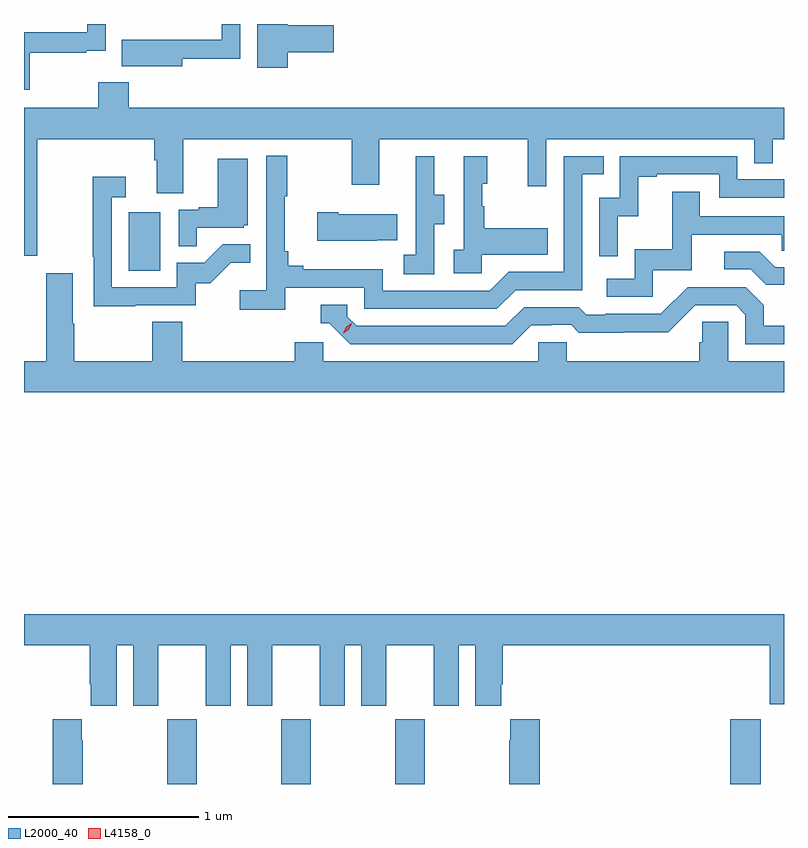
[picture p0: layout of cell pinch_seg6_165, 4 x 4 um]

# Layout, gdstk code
import gdstk
lib = gdstk.Library(unit=1e-6, precision=1e-09)
def R(c, l, rs):  # rectangles x0, y0, x1, y1
    for r in rs: c.add(gdstk.rectangle(r[:2], r[2:], *l))
def A(c, l, x, y, w, h, nx, ny, dx, dy):  # array of equal rectangles
    R(c, l, [(x+i*dx, y+j*dy, x+i*dx+w, y+j*dy+h) for i in range(nx) for j in range(ny)])
def P(c, l, *ps):  # polygons
    for p in ps: c.add(gdstk.Polygon(p, *l))
L2000_40 = (2000, 40)
L4158_0 = (4158, 0)

pinch_seg6_165 = lib.new_cell('pinch_seg6_165')
A(pinch_seg6_165, L2000_40, 1029.547, 935.95, 0.155, 0.342, 3, 1, 0.6, 0)
R(pinch_seg6_165, L2000_40, [(1032.509,935.95,1032.669,936.292), (1029.344,938.652,1029.508,938.959)])
P(pinch_seg6_165, L2000_40, [(1030.18,939.802),(1030.423,939.802),(1030.423,939.944),(1030.18,939.944),(1030.18,939.95),(1030.019,939.95),(1030.019,939.72),(1030.18,939.72)],
  [(1029.625,939.766),(1029.93,939.766),(1029.93,939.95),(1029.834,939.95),(1029.834,939.867),(1029.521,939.867),(1029.521,939.868),(1029.307,939.868),(1029.307,939.728),(1029.625,939.728)],
  [(1028.821,939.798),(1029.119,939.798),(1029.119,939.809),(1029.222,939.809),(1029.222,939.95),(1029.126,939.95),(1029.126,939.906),(1028.792,939.906),(1028.792,939.603),(1028.821,939.603)],
  [(1029.344,939.643),(1029.184,939.643),(1029.184,939.508),(1028.792,939.508),(1028.792,938.73),(1028.863,938.73),(1028.863,939.344),(1029.478,939.344),(1029.478,939.232),(1029.491,939.232),(1029.491,939.058),(1029.631,939.058),(1029.631,939.344),(1030.516,939.344),(1030.516,939.105),(1030.663,939.105),(1030.663,939.344),(1031.444,939.344),(1031.444,939.096),(1031.541,939.096),(1031.541,939.344),(1032.636,939.344),(1032.636,939.217),(1032.732,939.217),(1032.732,939.344),(1032.792,939.344),(1032.792,939.508),(1029.344,939.508)],
  [(1030.166,938.562),(1030.584,938.562),(1030.584,938.451),(1031.281,938.451),(1031.38,938.55),(1031.73,938.55),(1031.73,939.159),(1031.843,939.159),(1031.843,939.255),(1031.634,939.255),(1031.634,938.646),(1031.343,938.646),(1031.244,938.547),(1030.68,938.547),(1030.68,938.659),(1030.261,938.659),(1030.261,938.678),(1030.184,938.678),(1030.184,938.755),(1030.165,938.755),(1030.165,939.043),(1030.177,939.043),(1030.177,939.256),(1030.068,939.256),(1030.068,938.548),(1029.927,938.548),(1029.927,938.446),(1030.166,938.446)],
  [(1031.916,938.939),(1032.026,938.939),(1032.026,939.147),(1032.121,939.147),(1032.121,939.159),(1032.45,939.159),(1032.45,939.036),(1032.792,939.036),(1032.792,939.132),(1032.546,939.132),(1032.546,939.255),(1031.928,939.255),(1031.928,939.036),(1031.82,939.036),(1031.82,938.727),(1031.916,938.727)],
  [(1031.202,938.735),(1031.549,938.735),(1031.549,938.875),(1031.215,938.875),(1031.215,938.99),(1031.205,938.99),(1031.205,939.108),(1031.23,939.108),(1031.23,939.253),(1031.106,939.253),(1031.106,938.762),(1031.055,938.762),(1031.055,938.637),(1031.202,938.637)],
  [(1030.95,938.896),(1031.005,938.896),(1031.005,939.051),(1030.951,939.051),(1030.951,939.253),(1030.853,939.253),(1030.853,939.039),(1030.854,939.039),(1030.854,938.735),(1030.791,938.735),(1030.791,938.632),(1030.95,938.632)],
  [(1029.701,938.877),(1029.948,938.877),(1029.948,938.892),(1029.97,938.892),(1029.97,939.241),(1029.812,939.241),(1029.812,938.986),(1029.713,938.986),(1029.713,938.973),(1029.606,938.973),(1029.606,938.779),(1029.701,938.779)],
  [(1029.377,938.469),(1029.696,938.469),(1029.696,938.586),(1029.772,938.586),(1029.879,938.693),(1029.983,938.693),(1029.983,938.792),(1029.839,938.792),(1029.741,938.694),(1029.597,938.694),(1029.597,938.565),(1029.255,938.565),(1029.255,939.039),(1029.328,939.039),(1029.328,939.145),(1029.154,939.145),(1029.154,938.725),(1029.159,938.725),(1029.159,938.464),(1029.377,938.464)],
  [(1032.102,938.655),(1032.307,938.655),(1032.307,938.841),(1032.781,938.841),(1032.781,938.757),(1032.792,938.757),(1032.792,938.937),(1032.349,938.937),(1032.349,939.067),(1032.205,939.067),(1032.205,938.764),(1032.006,938.764),(1032.006,938.61),(1031.859,938.61),(1031.859,938.514),(1032.102,938.514)],
  [(1030.649,938.813),(1030.757,938.813),(1030.757,938.95),(1030.447,938.95),(1030.447,938.958),(1030.335,938.958),(1030.335,938.81),(1030.649,938.81)],
  [(1032.792,938.67),(1032.745,938.67),(1032.664,938.751),(1032.477,938.751),(1032.477,938.658),(1032.618,938.658),(1032.698,938.578),(1032.792,938.578)],
  [(1032.792,938.176),(1032.498,938.176),(1032.498,938.384),(1032.361,938.384),(1032.361,938.274),(1032.347,938.274),(1032.347,938.176),(1031.649,938.176),(1031.649,938.274),(1031.499,938.274),(1031.499,938.176),(1030.368,938.176),(1030.368,938.274),(1030.217,938.274),(1030.217,938.176),(1029.626,938.176),(1029.626,938.384),(1029.466,938.384),(1029.466,938.176),(1029.057,938.176),(1029.057,938.372),(1029.049,938.372),(1029.049,938.638),(1028.909,938.638),(1028.909,938.176),(1028.792,938.176),(1028.792,938.012),(1032.792,938.012)],
  [(1031.461,938.364),(1031.568,938.364),(1031.568,938.367),(1031.671,938.367),(1031.713,938.325),(1031.946,938.325),(1031.946,938.327),(1032.182,938.327),(1032.324,938.469),(1032.54,938.469),(1032.588,938.421),(1032.588,938.265),(1032.792,938.265),(1032.792,938.361),(1032.685,938.361),(1032.685,938.471),(1032.591,938.565),(1032.285,938.565),(1032.144,938.424),(1031.851,938.424),(1031.851,938.421),(1031.752,938.421),(1031.713,938.46),(1031.424,938.46),(1031.325,938.361),(1030.542,938.361),(1030.494,938.409),(1030.494,938.472),(1030.355,938.472),(1030.355,938.376),(1030.398,938.376),(1030.509,938.265),(1031.362,938.265)],
  [(1028.792,936.68),(1029.137,936.68),(1029.137,936.475),(1029.143,936.475),(1029.143,936.363),(1029.28,936.363),(1029.28,936.68),(1029.368,936.68),(1029.368,936.363),(1029.499,936.363),(1029.499,936.68),(1029.749,936.68),(1029.749,936.363),(1029.88,936.363),(1029.88,936.68),(1029.968,936.68),(1029.968,936.363),(1030.099,936.363),(1030.099,936.68),(1030.349,936.68),(1030.349,936.363),(1030.48,936.363),(1030.48,936.68),(1030.568,936.68),(1030.568,936.363),(1030.699,936.363),(1030.699,936.68),(1030.949,936.68),(1030.949,936.363),(1031.08,936.363),(1031.08,936.68),(1031.168,936.68),(1031.168,936.363),(1031.305,936.363),(1031.305,936.475),(1031.312,936.475),(1031.312,936.68),(1032.716,936.68),(1032.716,936.371),(1032.792,936.371),(1032.792,936.844),(1028.792,936.844)],
  [(1031.351,936.179),(1031.347,936.179),(1031.347,935.95),(1031.507,935.95),(1031.507,936.292),(1031.351,936.292)],
  [(1029.102,936.179),(1029.097,936.179),(1029.097,936.292),(1028.942,936.292),(1028.942,935.95),(1029.102,935.95)])
P(pinch_seg6_165, L4158_0, [(1030.471,938.323),(1030.471,938.323),(1030.487,938.356),(1030.518,938.375),(1030.518,938.375),(1030.518,938.375),(1030.502,938.342),(1030.471,938.323)])

lib.write_gds('pinch_seg6_165.gds')
